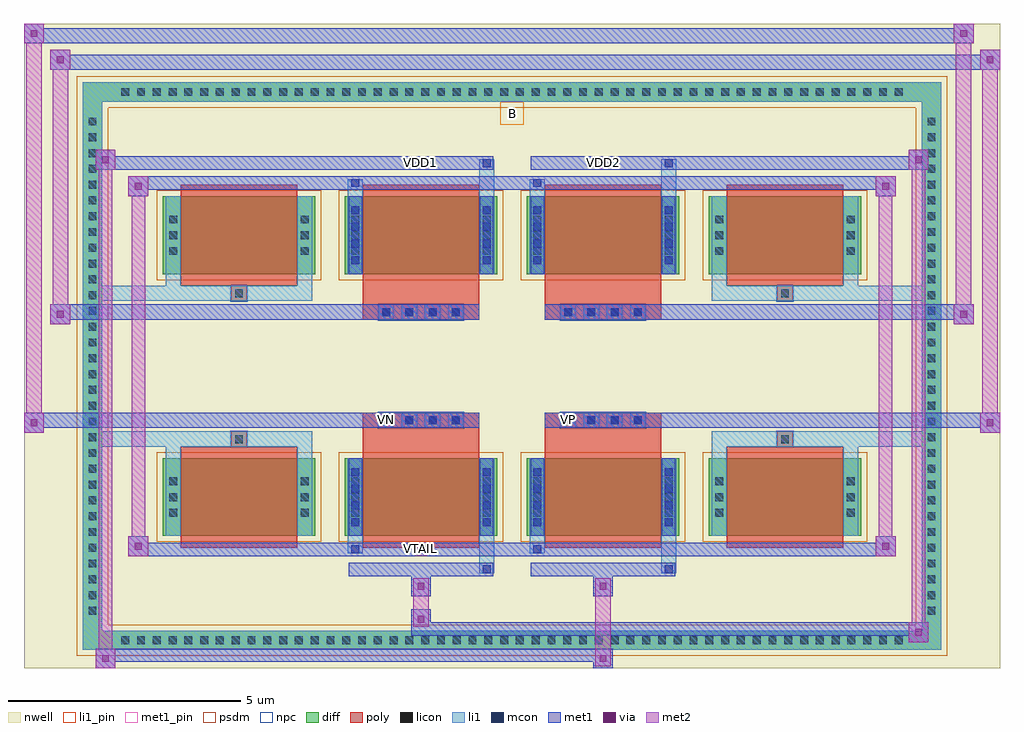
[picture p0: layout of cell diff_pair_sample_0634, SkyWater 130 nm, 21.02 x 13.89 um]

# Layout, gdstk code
import gdstk
lib = gdstk.Library(unit=1e-6, precision=5e-09)
def R(c, l, rs):  # rectangles x0, y0, x1, y1
    for r in rs: c.add(gdstk.rectangle(r[:2], r[2:], *l))
def A(c, l, x, y, w, h, nx, ny, dx, dy):  # array of equal rectangles
    R(c, l, [(x+i*dx, y+j*dy, x+i*dx+w, y+j*dy+h) for i in range(nx) for j in range(ny)])
def P(c, l, *ps):  # polygons
    for p in ps: c.add(gdstk.Polygon(p, *l))
nwell = (64, 20)
diff = (65, 20)
poly = (66, 20)
licon = (66, 44)
li1_pin = (67, 16)
li1 = (67, 20)
mcon = (67, 44)
met1_pin = (68, 16)
met1 = (68, 20)
via = (68, 44)
met2 = (69, 20)
psdm = (94, 20)
npc = (95, 20)

diff_pair_sample_0634 = lib.new_cell('diff_pair_sample_0634')
R(diff_pair_sample_0634, nwell, [(-10.51,-6.51,10.51,7.38), (-7.83,-4.7,-0.01,-0.8), (0.01,-4.7,7.83,-0.8), (-7.83,0.8,-0.01,4.7), (0.01,0.8,7.83,4.7)])
A(diff_pair_sample_0634, diff, -8.535, -6.11, 0.41, 0.41, 50, 2, 0.34, 11.81)
A(diff_pair_sample_0634, diff, -9.24, -5.475, 0.41, 0.41, 1, 32, 0, 0.34)
A(diff_pair_sample_0634, diff, 8.83, -5.475, 0.41, 0.41, 1, 32, 0, 0.34)
A(diff_pair_sample_0634, diff, -7.52, -3.655, 3.28, 1.67, 4, 2, 3.92, 5.64)
R(diff_pair_sample_0634, diff, [(-8.535,-6.11,8.535,-5.7), (-9.24,-5.475,-8.83,5.475), (8.83,-5.475,9.24,5.475), (-8.535,5.7,8.535,6.11)])
P(diff_pair_sample_0634, diff, [(9.24,6.11),(-9.24,6.11),(-9.24,-5.7),(-8.83,-5.7),(-8.83,5.7),(8.83,5.7),(8.83,-5.7),(-8.83,-5.7),(-9.24,-5.7),(-9.24,-6.11),(9.24,-6.11)])
A(diff_pair_sample_0634, poly, -7.13, -3.905, 2.5, 2.17, 4, 2, 3.92, 5.64)
A(diff_pair_sample_0634, poly, -2.875, -1.33, 0.33, 0.33, 4, 2, 0.5, 2.33)
A(diff_pair_sample_0634, poly, 1.045, -1.33, 0.33, 0.33, 4, 2, 0.5, 2.33)
R(diff_pair_sample_0634, poly, [(-6.045,-1.735,-5.715,-1.405), (-6.045,-1.735,-5.715,-1.405), (-3.21,-1.735,-0.71,-1.33), (0.71,-1.735,3.21,-1.33), (5.715,-1.735,6.045,-1.405), (5.715,-1.735,6.045,-1.405), (-3.21,-1.33,-0.71,-1), (0.71,-1.33,3.21,-1), (-3.21,1,-0.71,1.33), (0.71,1,3.21,1.33), (-3.21,1.33,-0.71,1.735), (0.71,1.33,3.21,1.735), (-6.045,1.405,-5.715,1.735), (-6.045,1.405,-5.715,1.735), (5.715,1.405,6.045,1.735), (5.715,1.405,6.045,1.735)])
A(diff_pair_sample_0634, licon, -8.415, -5.99, 0.17, 0.17, 50, 2, 0.34, 11.81)
A(diff_pair_sample_0634, licon, -9.12, -5.355, 0.17, 0.17, 1, 32, 0, 0.34)
A(diff_pair_sample_0634, licon, 8.95, -5.355, 0.17, 0.17, 1, 32, 0, 0.34)
A(diff_pair_sample_0634, licon, -7.38, -3.245, 0.17, 0.17, 1, 3, 0, 0.34)
A(diff_pair_sample_0634, licon, -4.55, -3.245, 0.17, 0.17, 1, 3, 0, 0.34)
A(diff_pair_sample_0634, licon, -3.46, -3.245, 0.17, 0.17, 1, 3, 0, 0.34)
A(diff_pair_sample_0634, licon, -0.63, -3.245, 0.17, 0.17, 1, 3, 0, 0.34)
A(diff_pair_sample_0634, licon, 0.46, -3.245, 0.17, 0.17, 1, 3, 0, 0.34)
A(diff_pair_sample_0634, licon, 3.29, -3.245, 0.17, 0.17, 1, 3, 0, 0.34)
A(diff_pair_sample_0634, licon, 4.38, -3.245, 0.17, 0.17, 1, 3, 0, 0.34)
A(diff_pair_sample_0634, licon, 7.21, -3.245, 0.17, 0.17, 1, 3, 0, 0.34)
A(diff_pair_sample_0634, licon, -2.795, -1.25, 0.17, 0.17, 4, 2, 0.5, 2.33)
A(diff_pair_sample_0634, licon, 1.125, -1.25, 0.17, 0.17, 4, 2, 0.5, 2.33)
A(diff_pair_sample_0634, licon, -7.38, 2.395, 0.17, 0.17, 1, 3, 0, 0.34)
A(diff_pair_sample_0634, licon, -4.55, 2.395, 0.17, 0.17, 1, 3, 0, 0.34)
A(diff_pair_sample_0634, licon, -3.46, 2.395, 0.17, 0.17, 1, 3, 0, 0.34)
A(diff_pair_sample_0634, licon, -0.63, 2.395, 0.17, 0.17, 1, 3, 0, 0.34)
A(diff_pair_sample_0634, licon, 0.46, 2.395, 0.17, 0.17, 1, 3, 0, 0.34)
A(diff_pair_sample_0634, licon, 3.29, 2.395, 0.17, 0.17, 1, 3, 0, 0.34)
A(diff_pair_sample_0634, licon, 4.38, 2.395, 0.17, 0.17, 1, 3, 0, 0.34)
A(diff_pair_sample_0634, licon, 7.21, 2.395, 0.17, 0.17, 1, 3, 0, 0.34)
R(diff_pair_sample_0634, licon, [(-5.965,-1.655,-5.795,-1.485), (5.795,-1.655,5.965,-1.485), (-5.965,1.485,-5.795,1.655), (5.795,1.485,5.965,1.655)])
R(diff_pair_sample_0634, li1_pin, [(-0.25,5.2,0.25,5.7)])
A(diff_pair_sample_0634, li1, -8.495, -6.07, 0.33, 0.33, 50, 2, 0.34, 11.81)
A(diff_pair_sample_0634, li1, -9.2, -5.435, 0.33, 0.33, 1, 32, 0, 0.34)
A(diff_pair_sample_0634, li1, 8.87, -5.435, 0.33, 0.33, 1, 32, 0, 0.34)
A(diff_pair_sample_0634, li1, -3.46, -3.445, 0.17, 0.17, 1, 4, 0, 0.36)
A(diff_pair_sample_0634, li1, -0.63, -3.445, 0.17, 0.17, 1, 4, 0, 0.36)
A(diff_pair_sample_0634, li1, 0.46, -3.445, 0.17, 0.17, 1, 4, 0, 0.36)
A(diff_pair_sample_0634, li1, 3.29, -3.445, 0.17, 0.17, 1, 4, 0, 0.36)
A(diff_pair_sample_0634, li1, -7.46, -3.325, 0.33, 0.33, 1, 3, 0, 0.34)
A(diff_pair_sample_0634, li1, -4.63, -3.325, 0.33, 0.33, 1, 3, 0, 0.34)
A(diff_pair_sample_0634, li1, -3.54, -3.325, 0.33, 0.33, 1, 3, 0, 0.34)
A(diff_pair_sample_0634, li1, -0.71, -3.325, 0.33, 0.33, 1, 3, 0, 0.34)
A(diff_pair_sample_0634, li1, 0.38, -3.325, 0.33, 0.33, 1, 3, 0, 0.34)
A(diff_pair_sample_0634, li1, 3.21, -3.325, 0.33, 0.33, 1, 3, 0, 0.34)
A(diff_pair_sample_0634, li1, 4.3, -3.325, 0.33, 0.33, 1, 3, 0, 0.34)
A(diff_pair_sample_0634, li1, 7.13, -3.325, 0.33, 0.33, 1, 3, 0, 0.34)
A(diff_pair_sample_0634, li1, -2.875, -1.33, 0.33, 0.33, 4, 2, 0.5, 2.33)
A(diff_pair_sample_0634, li1, 1.045, -1.33, 0.33, 0.33, 4, 2, 0.5, 2.33)
A(diff_pair_sample_0634, li1, -3.46, 2.195, 0.17, 0.17, 1, 4, 0, 0.36)
A(diff_pair_sample_0634, li1, -0.63, 2.195, 0.17, 0.17, 1, 4, 0, 0.36)
A(diff_pair_sample_0634, li1, 0.46, 2.195, 0.17, 0.17, 1, 4, 0, 0.36)
A(diff_pair_sample_0634, li1, 3.29, 2.195, 0.17, 0.17, 1, 4, 0, 0.36)
A(diff_pair_sample_0634, li1, -7.46, 2.315, 0.33, 0.33, 1, 3, 0, 0.34)
A(diff_pair_sample_0634, li1, -4.63, 2.315, 0.33, 0.33, 1, 3, 0, 0.34)
A(diff_pair_sample_0634, li1, -3.54, 2.315, 0.33, 0.33, 1, 3, 0, 0.34)
A(diff_pair_sample_0634, li1, -0.71, 2.315, 0.33, 0.33, 1, 3, 0, 0.34)
A(diff_pair_sample_0634, li1, 0.38, 2.315, 0.33, 0.33, 1, 3, 0, 0.34)
A(diff_pair_sample_0634, li1, 3.21, 2.315, 0.33, 0.33, 1, 3, 0, 0.34)
A(diff_pair_sample_0634, li1, 4.3, 2.315, 0.33, 0.33, 1, 3, 0, 0.34)
A(diff_pair_sample_0634, li1, 7.13, 2.315, 0.33, 0.33, 1, 3, 0, 0.34)
R(diff_pair_sample_0634, li1, [(-9.24,-6.11,-8.83,-5.7), (-9.24,-6.11,-8.83,-5.7), (-8.83,-6.11,8.83,-5.7), (8.83,-6.11,9.24,-5.7), (8.83,-6.11,9.24,-5.7), (-9.24,-5.7,-8.83,5.7), (8.83,-5.7,9.24,5.7), (-0.71,-4.46,-0.38,-3.655), (-0.63,-4.46,-0.46,-4.29), (3.21,-4.46,3.54,-3.655), (3.29,-4.46,3.46,-4.29), (-3.54,-4.03,-3.21,-3.655), (-3.46,-4.03,-3.29,-3.86), (0.38,-4.03,0.71,-3.655), (0.46,-4.03,0.63,-3.86), (-7.46,-3.655,-7.13,-1.985), (-4.63,-3.655,-4.3,-1.985), (-3.54,-3.655,-3.21,-1.985), (-0.71,-3.655,-0.38,-1.985), (0.38,-3.655,0.71,-1.985), (3.21,-3.655,3.54,-1.985), (4.3,-3.655,4.63,-1.985), (7.13,-3.655,7.46,-1.985), (-3.46,-3.445,-3.29,-2.195), (-0.63,-3.445,-0.46,-2.195), (0.46,-3.445,0.63,-2.195), (3.29,-3.445,3.46,-2.195), (-7.46,-1.985,-7.13,-1.405), (-4.63,-1.985,-4.3,-1.405), (4.3,-1.985,4.63,-1.405), (7.13,-1.985,7.46,-1.405), (-9.24,-1.735,-6.045,-1.405), (-7.46,-1.735,-6.045,-1.405), (-6.045,-1.735,-5.715,-1.405), (-5.715,-1.735,-4.3,-1.405), (4.3,-1.735,5.715,-1.405), (5.715,-1.735,6.045,-1.405), (5.715,-1.735,9.24,-1.405), (6.045,-1.735,7.46,-1.405), (-9.24,1.405,-6.045,1.735), (-7.46,1.405,-6.045,1.735), (-7.46,1.405,-7.13,1.985), (-6.045,1.405,-5.715,1.735), (-5.715,1.405,-4.3,1.735), (-4.63,1.405,-4.3,1.985), (4.3,1.405,5.715,1.735), (4.3,1.405,4.63,1.985), (5.715,1.405,6.045,1.735), (5.715,1.405,9.24,1.735), (6.045,1.405,7.46,1.735), (7.13,1.405,7.46,1.985), (-7.46,1.985,-7.13,3.655), (-4.63,1.985,-4.3,3.655), (-3.54,1.985,-3.21,3.655), (-0.71,1.985,-0.38,3.655), (0.38,1.985,0.71,3.655), (3.21,1.985,3.54,3.655), (4.3,1.985,4.63,3.655), (7.13,1.985,7.46,3.655), (-3.46,2.195,-3.29,3.445), (-0.63,2.195,-0.46,3.445), (0.46,2.195,0.63,3.445), (3.29,2.195,3.46,3.445), (-3.54,3.655,-3.21,4.03), (-0.71,3.655,-0.38,4.46), (0.38,3.655,0.71,4.03), (3.21,3.655,3.54,4.46), (-3.46,3.86,-3.29,4.03), (0.46,3.86,0.63,4.03), (-0.63,4.29,-0.46,4.46), (3.29,4.29,3.46,4.46), (-9.24,5.7,-8.83,6.11), (-9.24,5.7,-8.83,6.11), (-8.83,5.7,8.83,6.11), (8.83,5.7,9.24,6.11), (8.83,5.7,9.24,6.11)])
A(diff_pair_sample_0634, mcon, -3.46, -3.445, 0.17, 0.17, 1, 4, 0, 0.36)
A(diff_pair_sample_0634, mcon, -0.63, -3.445, 0.17, 0.17, 1, 4, 0, 0.36)
A(diff_pair_sample_0634, mcon, 0.46, -3.445, 0.17, 0.17, 1, 4, 0, 0.36)
A(diff_pair_sample_0634, mcon, 3.29, -3.445, 0.17, 0.17, 1, 4, 0, 0.36)
A(diff_pair_sample_0634, mcon, -2.795, -1.25, 0.17, 0.17, 4, 2, 0.5, 2.33)
A(diff_pair_sample_0634, mcon, 1.125, -1.25, 0.17, 0.17, 4, 2, 0.5, 2.33)
A(diff_pair_sample_0634, mcon, -3.46, 2.195, 0.17, 0.17, 1, 4, 0, 0.36)
A(diff_pair_sample_0634, mcon, -0.63, 2.195, 0.17, 0.17, 1, 4, 0, 0.36)
A(diff_pair_sample_0634, mcon, 0.46, 2.195, 0.17, 0.17, 1, 4, 0, 0.36)
A(diff_pair_sample_0634, mcon, 3.29, 2.195, 0.17, 0.17, 1, 4, 0, 0.36)
R(diff_pair_sample_0634, mcon, [(-0.63,-4.46,-0.46,-4.29), (3.29,-4.46,3.46,-4.29), (-3.46,-4.03,-3.29,-3.86), (0.46,-4.03,0.63,-3.86), (-3.46,3.86,-3.29,4.03), (0.46,3.86,0.63,4.03), (-0.63,4.29,-0.46,4.46), (3.29,4.29,3.46,4.46)])
R(diff_pair_sample_0634, met1_pin, [(-2.095,-4.07,-1.825,-3.8), (-2.845,-1.29,-2.575,-1.02), (1.075,-1.29,1.345,-1.02), (-2.095,4.25,-1.825,4.52), (1.825,4.25,2.095,4.52)])
A(diff_pair_sample_0634, met1, -3.52, -3.505, 0.29, 0.29, 1, 4, 0, 0.36)
A(diff_pair_sample_0634, met1, -0.69, -3.505, 0.29, 0.29, 1, 4, 0, 0.36)
A(diff_pair_sample_0634, met1, 0.4, -3.505, 0.29, 0.29, 1, 4, 0, 0.36)
A(diff_pair_sample_0634, met1, 3.23, -3.505, 0.29, 0.29, 1, 4, 0, 0.36)
A(diff_pair_sample_0634, met1, -2.855, -1.31, 0.29, 0.29, 4, 2, 0.5, 2.33)
A(diff_pair_sample_0634, met1, 1.065, -1.31, 0.29, 0.29, 4, 2, 0.5, 2.33)
A(diff_pair_sample_0634, met1, -3.52, 2.135, 0.29, 0.29, 1, 4, 0, 0.36)
A(diff_pair_sample_0634, met1, -0.69, 2.135, 0.29, 0.29, 1, 4, 0, 0.36)
A(diff_pair_sample_0634, met1, 0.4, 2.135, 0.29, 0.29, 1, 4, 0, 0.36)
A(diff_pair_sample_0634, met1, 3.23, 2.135, 0.29, 0.29, 1, 4, 0, 0.36)
R(diff_pair_sample_0634, met1, [(-8.97,-6.51,-8.54,-6.08), (1.745,-6.51,2.175,-6.08), (-8.97,-6.37,2.175,-6.08), (8.54,-5.94,8.97,-5.51), (-2.175,-5.8,8.97,-5.51), (-2.175,-5.66,-1.745,-5.23), (-2.175,-4.95,-1.745,-4.52), (1.745,-4.95,2.175,-4.52), (-3.52,-4.52,-0.4,-4.23), (-0.69,-4.52,-0.4,-4.23), (0.4,-4.52,3.52,-4.23), (3.23,-4.52,3.52,-4.23), (-8.26,-4.09,-7.83,-3.66), (-8.26,-4.09,-3.52,-3.8), (-3.52,-4.09,-3.23,-3.8), (-3.52,-4.09,-0.4,-3.8), (-0.4,-4.09,0.4,-3.8), (0.4,-4.09,0.69,-3.8), (0.4,-4.09,3.52,-3.8), (3.52,-4.09,8.26,-3.8), (7.83,-4.09,8.26,-3.66), (-3.52,-3.655,-3.23,-1.985), (-0.69,-3.655,-0.4,-1.985), (0.4,-3.655,0.69,-1.985), (3.23,-3.655,3.52,-1.985), (-10.51,-1.43,-10.08,-1), (10.08,-1.43,10.51,-1), (-10.51,-1.33,-0.71,-1), (-3.21,-1.33,-0.71,-1), (0.71,-1.33,3.21,-1), (0.71,-1.33,10.51,-1), (-9.94,0.9,-9.51,1.33), (9.51,0.9,9.94,1.33), (-9.94,1,-3.21,1.33), (-3.21,1,-0.71,1.33), (0.71,1,3.21,1.33), (3.21,1,9.94,1.33), (-3.52,1.985,-3.23,3.655), (-0.69,1.985,-0.4,3.655), (0.4,1.985,0.69,3.655), (3.23,1.985,3.52,3.655), (-8.26,3.66,-7.83,4.09), (7.83,3.66,8.26,4.09), (-8.26,3.8,-3.52,4.09), (-3.52,3.8,-3.23,4.09), (-3.52,3.8,-0.4,4.09), (-0.4,3.8,0.4,4.09), (0.4,3.8,0.69,4.09), (0.4,3.8,3.52,4.09), (3.52,3.8,8.26,4.09), (-8.97,4.23,-8.54,4.66), (-8.97,4.23,-3.52,4.52), (-3.52,4.23,-0.4,4.52), (-0.69,4.23,-0.4,4.52), (0.4,4.23,3.52,4.52), (3.23,4.23,3.52,4.52), (3.52,4.23,8.97,4.52), (8.54,4.23,8.97,4.66), (-9.94,6.38,-9.51,6.81), (-9.94,6.38,-7.83,6.71), (-7.83,6.38,7.83,6.71), (7.83,6.38,10.51,6.71), (10.08,6.38,10.51,6.81), (-10.51,6.95,-10.08,7.38), (-10.51,6.95,-7.83,7.28), (-7.83,6.95,7.83,7.28), (7.83,6.95,9.94,7.28), (9.51,6.95,9.94,7.38)])
R(diff_pair_sample_0634, via, [(-8.83,-6.37,-8.68,-6.22), (1.885,-6.37,2.035,-6.22), (8.68,-5.8,8.83,-5.65), (-2.035,-5.52,-1.885,-5.37), (-2.035,-4.81,-1.885,-4.66), (1.885,-4.81,2.035,-4.66), (-8.12,-3.95,-7.97,-3.8), (7.97,-3.95,8.12,-3.8), (-10.37,-1.29,-10.22,-1.14), (10.22,-1.29,10.37,-1.14), (-9.8,1.04,-9.65,1.19), (9.65,1.04,9.8,1.19), (-8.12,3.8,-7.97,3.95), (7.97,3.8,8.12,3.95), (-8.83,4.37,-8.68,4.52), (8.68,4.37,8.83,4.52), (-9.8,6.52,-9.65,6.67), (10.22,6.52,10.37,6.67), (-10.37,7.09,-10.22,7.24), (9.65,7.09,9.8,7.24)])
R(diff_pair_sample_0634, met2, [(-8.97,-6.51,-8.54,-6.08), (-8.9,-6.51,-8.61,4.66), (-8.61,-6.51,-8.54,-6.08), (-8.92,-6.46,-8.59,-6.13), (1.795,-6.46,2.125,-6.13), (1.795,-6.13,2.125,-4.9), (8.54,-5.94,8.97,-5.51), (8.61,-5.94,8.9,4.66), (8.9,-5.94,8.97,-5.51), (8.59,-5.89,8.92,-5.56), (-2.125,-5.61,-1.795,-5.28), (-2.125,-5.28,-1.795,-4.9), (-2.125,-4.9,-1.795,-4.57), (1.795,-4.9,2.125,-4.57), (-8.26,-4.09,-7.83,-3.66), (-8.19,-4.09,-7.9,4.09), (-7.9,-4.09,-7.83,-3.66), (7.83,-4.09,8.26,-3.66), (7.9,-4.09,8.19,4.09), (8.19,-4.09,8.26,-3.66), (-8.21,-4.04,-7.88,-3.71), (7.88,-4.04,8.21,-3.71), (-10.51,-1.43,-10.08,-1), (-10.46,-1.43,-10.13,7.38), (-10.13,-1.43,-10.08,-1), (10.08,-1.43,10.51,-1), (10.13,-1.43,10.46,6.81), (10.46,-1.43,10.51,-1), (-10.46,-1.38,-10.13,-1.05), (10.13,-1.38,10.46,-1.05), (-9.94,0.9,-9.51,1.33), (-9.89,0.9,-9.56,6.81), (-9.56,0.9,-9.51,1.33), (9.51,0.9,9.94,1.33), (9.56,0.9,9.89,7.38), (9.89,0.9,9.94,1.33), (-9.89,0.95,-9.56,1.28), (9.56,0.95,9.89,1.28), (-8.26,3.66,-7.83,4.09), (-7.9,3.66,-7.83,4.09), (7.83,3.66,8.26,4.09), (8.19,3.66,8.26,4.09), (-8.21,3.71,-7.88,4.04), (7.88,3.71,8.21,4.04), (-8.97,4.23,-8.54,4.66), (-8.61,4.23,-8.54,4.66), (8.54,4.23,8.97,4.66), (8.9,4.23,8.97,4.66), (-8.92,4.28,-8.59,4.61), (8.59,4.28,8.92,4.61), (-9.94,6.38,-9.51,6.81), (-9.56,6.38,-9.51,6.81), (10.08,6.38,10.51,6.81), (10.46,6.38,10.51,6.81), (-9.89,6.43,-9.56,6.76), (10.13,6.43,10.46,6.76), (-10.51,6.95,-10.08,7.38), (-10.13,6.95,-10.08,7.38), (9.51,6.95,9.94,7.38), (9.89,6.95,9.94,7.38), (-10.46,7,-10.13,7.33), (9.56,7,9.89,7.33)])
A(diff_pair_sample_0634, psdm, -7.65, -3.785, 3.54, 1.93, 4, 2, 3.92, 5.64)
P(diff_pair_sample_0634, psdm, [(9.37,6.24),(-9.37,6.24),(-9.37,-5.57),(-8.7,-5.57),(-8.7,5.57),(8.7,5.57),(8.7,-5.57),(-8.7,-5.57),(-9.37,-5.57),(-9.37,-6.24),(9.37,-6.24)])
A(diff_pair_sample_0634, npc, -2.895, -1.35, 0.37, 0.37, 4, 2, 0.5, 2.33)
A(diff_pair_sample_0634, npc, 1.025, -1.35, 0.37, 0.37, 4, 2, 0.5, 2.33)
R(diff_pair_sample_0634, npc, [(-6.065,-1.755,-5.695,-1.385), (5.695,-1.755,6.065,-1.385), (-2.895,-1.35,-2.025,-0.98), (-2.895,-1.35,-2.025,-0.98), (-2.395,-1.35,-1.525,-0.98), (-2.395,-1.35,-1.525,-0.98), (-1.895,-1.35,-1.025,-0.98), (-1.895,-1.35,-1.025,-0.98), (1.025,-1.35,1.895,-0.98), (1.025,-1.35,1.895,-0.98), (1.525,-1.35,2.395,-0.98), (1.525,-1.35,2.395,-0.98), (2.025,-1.35,2.895,-0.98), (2.025,-1.35,2.895,-0.98), (-2.895,0.98,-2.025,1.35), (-2.895,0.98,-2.025,1.35), (-2.395,0.98,-1.525,1.35), (-2.395,0.98,-1.525,1.35), (-1.895,0.98,-1.025,1.35), (-1.895,0.98,-1.025,1.35), (1.025,0.98,1.895,1.35), (1.025,0.98,1.895,1.35), (1.525,0.98,2.395,1.35), (1.525,0.98,2.395,1.35), (2.025,0.98,2.895,1.35), (2.025,0.98,2.895,1.35), (-6.065,1.385,-5.695,1.755), (5.695,1.385,6.065,1.755)])
diff_pair_sample_0634.add(gdstk.Label('VTAIL', (-1.96,-3.935), layer=68, texttype=5))
diff_pair_sample_0634.add(gdstk.Label('VN', (-2.71,-1.155), layer=68, texttype=5))
diff_pair_sample_0634.add(gdstk.Label('VP', (1.21,-1.155), layer=68, texttype=5))
diff_pair_sample_0634.add(gdstk.Label('B', (0,5.45), layer=67, texttype=5))
diff_pair_sample_0634.add(gdstk.Label('VDD2', (1.96,4.385), layer=68, texttype=5))
diff_pair_sample_0634.add(gdstk.Label('VDD1', (-1.96,4.385), layer=68, texttype=5))

lib.write_gds('diff_pair_sample_0634.gds')
